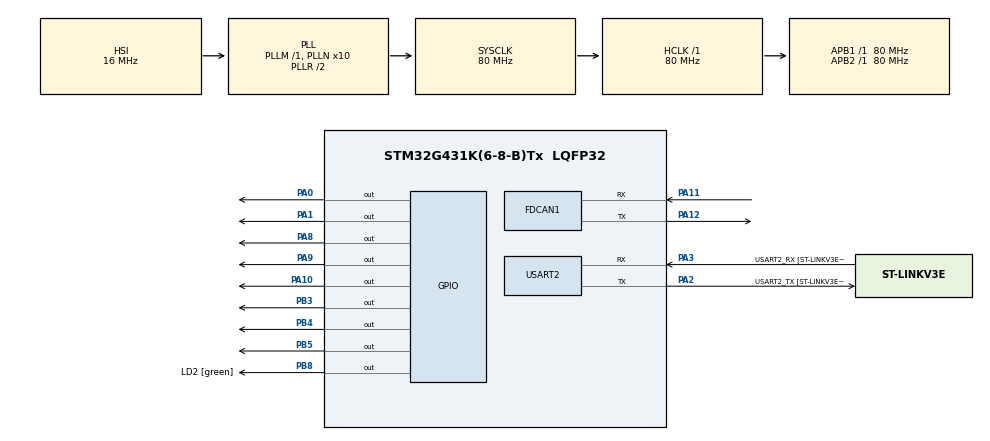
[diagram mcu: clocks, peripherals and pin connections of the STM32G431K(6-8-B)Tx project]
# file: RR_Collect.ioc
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FDCAN1.CalculateBaudRateNominal=1000000
FDCAN1.CalculateTimeBitNominal=1000
FDCAN1.CalculateTimeQuantumNominal=62.5
FDCAN1.DataPrescaler=2
FDCAN1.DataSyncJumpWidth=2
FDCAN1.DataTimeSeg1=10
FDCAN1.DataTimeSeg2=9
FDCAN1.FrameFormat=FDCAN_FRAME_FD_BRS
FDCAN1.NominalPrescaler=5
FDCAN1.NominalSyncJumpWidth=2
FDCAN1.NominalTimeSeg1=13
FDCAN1.StdFiltersNbr=1
Mcu.Family=STM32G4
Mcu.Name=STM32G431K(6-8-B)Tx
Mcu.Package=LQFP32
NVIC.FDCAN1_IT0_IRQn=true\:0\:0\:false\:false\:true\:true\:true\:true
NVIC.PriorityGroup=NVIC_PRIORITYGROUP_4
PA0.Signal=GPIO_Output
PA1.Signal=GPIO_Output
PA10.Signal=GPIO_Output
PA11.Mode=FDCAN_Activate
PA11.Signal=FDCAN1_RX
PA12.Mode=FDCAN_Activate
PA12.Signal=FDCAN1_TX
PA13.GPIO_Label=T_SWDIO
PA13.Mode=Serial_Wire
PA13.Signal=SYS_JTMS-SWDIO
PA14.GPIO_Label=T_SWCLK
PA14.Mode=Serial_Wire
PA14.Signal=SYS_JTCK-SWCLK
PA2.GPIO_Label=USART2_TX [ST-LINKV3E_VCP_RX]
PA2.Mode=Asynchronous
PA2.Signal=USART2_TX
PA3.GPIO_Label=USART2_RX [ST-LINKV3E_VCP_TX]
PA3.Mode=Asynchronous
PA3.Signal=USART2_RX
PA8.Signal=GPIO_Output
PA9.Signal=GPIO_Output
PB3.Signal=GPIO_Output
PB4.Signal=GPIO_Output
PB5.Signal=GPIO_Output
PB8-BOOT0.GPIO_Label=LD2 [green]
PB8-BOOT0.Signal=GPIO_Output
ProjectManager.HeapSize=0x200
ProjectManager.StackSize=0x400
ProjectManager.TargetToolchain=STM32CubeIDE
RCC.ADC12Freq_Value=80000000
RCC.AHBFreq_Value=80000000
RCC.APB1Freq_Value=80000000
RCC.APB1TimFreq_Value=80000000
RCC.APB2Freq_Value=80000000
RCC.APB2TimFreq_Value=80000000
RCC.CortexFreq_Value=80000000
RCC.EXTERNAL_CLOCK_VALUE=12288000
RCC.HCLKFreq_Value=80000000
RCC.HSE_VALUE=8000000
RCC.HSI48_VALUE=48000000
RCC.HSI_VALUE=16000000
RCC.LSE_VALUE=32768
RCC.PLLN=10
RCC.SYSCLKFreq_VALUE=80000000
RCC.SYSCLKSource=RCC_SYSCLKSOURCE_PLLCLK
RCC.USBFreq_Value=80000000
RCC.VCOOutputFreq_Value=160000000
USART2.VirtualMode-Asynchronous=VM_ASYNC
USART2.WordLength=WORDLENGTH_8B
board=NUCLEO-G431KB

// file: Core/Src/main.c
/* USER CODE BEGIN Header */
/**
  ******************************************************************************
  * @file           : main.c
  * @brief          : Main program body
  ******************************************************************************
  * @attention
  *
  * Copyright (c) 2023 STMicroelectronics.
  * All rights reserved.
  *
  * This software is licensed under terms that can be found in the LICENSE file
  * in the root directory of this software component.
  * If no LICENSE file comes with this software, it is provided AS-IS.
  *
  ******************************************************************************
  */

/**
 ************************
 *　エアシリンダの制御プログラム　*
 ************************

**/

/* USER CODE END Header */
#include "main.h"

FDCAN_HandleTypeDef hfdcan1;

UART_HandleTypeDef huart2;

/* USER CODE BEGIN PV */
FDCAN_TxHeaderTypeDef TxHeader;
FDCAN_RxHeaderTypeDef RxHeader;
FDCAN_FilterTypeDef sFilterConfig;

uint8_t TxData[1];
uint8_t RxData[1];
uint32_t TxMailbox;
/* USER CODE END PV */

void SystemClock_Config(void);
static void MX_GPIO_Init(void);
static void MX_USART2_UART_Init(void);
static void MX_FDCAN1_Init(void);
/* USER CODE BEGIN PFP */
void cylinder1(int i);
void cylinder2(int i);
void cylinder3(int i);
void cylinder4(int i);

/* USER CODE END PFP */

/* USER CODE BEGIN 0 */

int flag = 0; //どの操作を行うのかについてのフラグ

/* USER CODE END 0 */

int main(void)
{

  /* MCU Configuration--------------------------------------------------------*/

  /* Reset of all peripherals, Initializes the Flash interface and the Systick. */
  HAL_Init();

  /* Configure the system clock */
  SystemClock_Config();

  /* Initialize all configured peripherals */
  MX_GPIO_Init();
  MX_USART2_UART_Init();
  MX_FDCAN1_Init();
  /* USER CODE BEGIN 2 */
    TxHeader.Identifier = 0x513;
    TxHeader.IdType = FDCAN_STANDARD_ID;
    TxHeader.TxFrameType = FDCAN_DATA_FRAME;
    TxHeader.DataLength = FDCAN_DLC_BYTES_1;
    TxHeader.ErrorStateIndicator = FDCAN_ESI_ACTIVE;
    TxHeader.BitRateSwitch = FDCAN_BRS_ON;
    TxHeader.FDFormat = FDCAN_FD_CAN;
    TxHeader.TxEventFifoControl = FDCAN_NO_TX_EVENTS;
    TxHeader.MessageMarker = 0;

    FDCAN_FilterTypeDef sFilterConfig;
    sFilterConfig.IdType = FDCAN_STANDARD_ID;
    sFilterConfig.FilterIndex = 0;
    sFilterConfig.FilterType = FDCAN_FILTER_DUAL;
    sFilterConfig.FilterConfig = FDCAN_FILTER_TO_RXFIFO0;
    sFilterConfig.FilterID1 = 0x051;
    sFilterConfig.FilterID2 = 0x322;
  /* USER CODE END 2 */

  /* Infinite loop */
  while (1)
  {

    /* USER CODE BEGIN 3 */

	  if(flag == 1){//シリンダーを一番上まで上げる
		  cylinder1(1);
		  cylinder2(1);
		  cylinder3(1);
		  cylinder4(0);
	  }

	  if(flag == 2){//シリンダーを下げて開いて2段上げる
		  cylinder1(0);
		  cylinder2(0);
		  cylinder3(0);
		  HAL_Delay(100);
		  cylinder4(1);
		  HAL_Delay(1000);
		  cylinder2(1);
		  cylinder3(1);
		  flag = 0;

          // 次の行程へCAN通信
          TxHeader.Identifier = 0x323;
          TxData[0] = 0x03;
          if (HAL_FDCAN_AddMessageToTxFifoQ(&hfdcan1, &TxHeader, TxData) != HAL_OK)
          {
              Error_Handler();
          }
	  }

	  if(flag == 3){//シリンダーを下ろして上げる
		  HAL_GPIO_WritePin(GPIOA, GPIO_PIN_8, GPIO_PIN_RESET);
		  HAL_GPIO_WritePin(GPIOA, GPIO_PIN_0, GPIO_PIN_RESET);
		  HAL_Delay(100);
		  cylinder4(0);
		  HAL_Delay(100);
		  cylinder1(1);
		  cylinder2(1);
		  cylinder3(1);
		  flag = 0;

          // 次の行程へCAN通信
          TxHeader.Identifier = 0x323;
          TxData[0] = 0x04;
          if (HAL_FDCAN_AddMessageToTxFifoQ(&hfdcan1, &TxHeader, TxData) != HAL_OK)
          {
              Error_Handler();
          }
	  }
  }
  /* USER CODE END 3 */
}

void SystemClock_Config(void)
{
  RCC_OscInitTypeDef RCC_OscInitStruct = {0};
  RCC_ClkInitTypeDef RCC_ClkInitStruct = {0};

  /** Configure the main internal regulator output voltage
  */
  HAL_PWREx_ControlVoltageScaling(PWR_REGULATOR_VOLTAGE_SCALE1);

  /** Initializes the RCC Oscillators according to the specified parameters
  * in the RCC_OscInitTypeDef structure.
  */
  RCC_OscInitStruct.OscillatorType = RCC_OSCILLATORTYPE_HSI;
  RCC_OscInitStruct.HSIState = RCC_HSI_ON;
  RCC_OscInitStruct.HSICalibrationValue = RCC_HSICALIBRATION_DEFAULT;
  RCC_OscInitStruct.PLL.PLLState = RCC_PLL_ON;
  RCC_OscInitStruct.PLL.PLLSource = RCC_PLLSOURCE_HSI;
  RCC_OscInitStruct.PLL.PLLM = RCC_PLLM_DIV1;
  RCC_OscInitStruct.PLL.PLLN = 10;
  RCC_OscInitStruct.PLL.PLLP = RCC_PLLP_DIV2;
  RCC_OscInitStruct.PLL.PLLQ = RCC_PLLQ_DIV2;
  RCC_OscInitStruct.PLL.PLLR = RCC_PLLR_DIV2;
  if (HAL_RCC_OscConfig(&RCC_OscInitStruct) != HAL_OK)
  {
    Error_Handler();
  }

  /** Initializes the CPU, AHB and APB buses clocks
  */
  RCC_ClkInitStruct.ClockType = RCC_CLOCKTYPE_HCLK|RCC_CLOCKTYPE_SYSCLK
                              |RCC_CLOCKTYPE_PCLK1|RCC_CLOCKTYPE_PCLK2;
  RCC_ClkInitStruct.SYSCLKSource = RCC_SYSCLKSOURCE_PLLCLK;
  RCC_ClkInitStruct.AHBCLKDivider = RCC_SYSCLK_DIV1;
  RCC_ClkInitStruct.APB1CLKDivider = RCC_HCLK_DIV1;
  RCC_ClkInitStruct.APB2CLKDivider = RCC_HCLK_DIV1;

  if (HAL_RCC_ClockConfig(&RCC_ClkInitStruct, FLASH_LATENCY_2) != HAL_OK)
  {
    Error_Handler();
  }
}

static void MX_FDCAN1_Init(void)
{

  hfdcan1.Instance = FDCAN1;
  hfdcan1.Init.ClockDivider = FDCAN_CLOCK_DIV1;
  hfdcan1.Init.FrameFormat = FDCAN_FRAME_FD_BRS;
  hfdcan1.Init.Mode = FDCAN_MODE_NORMAL;
  hfdcan1.Init.AutoRetransmission = DISABLE;
  hfdcan1.Init.TransmitPause = DISABLE;
  hfdcan1.Init.ProtocolException = DISABLE;
  hfdcan1.Init.NominalPrescaler = 5;
  hfdcan1.Init.NominalSyncJumpWidth = 2;
  hfdcan1.Init.NominalTimeSeg1 = 13;
  hfdcan1.Init.NominalTimeSeg2 = 2;
  hfdcan1.Init.DataPrescaler = 2;
  hfdcan1.Init.DataSyncJumpWidth = 2;
  hfdcan1.Init.DataTimeSeg1 = 10;
  hfdcan1.Init.DataTimeSeg2 = 9;
  hfdcan1.Init.StdFiltersNbr = 1;
  hfdcan1.Init.ExtFiltersNbr = 0;
  hfdcan1.Init.TxFifoQueueMode = FDCAN_TX_FIFO_OPERATION;
  if (HAL_FDCAN_Init(&hfdcan1) != HAL_OK)
  {
    Error_Handler();
  }

}

static void MX_USART2_UART_Init(void)
{

  huart2.Instance = USART2;
  huart2.Init.BaudRate = 115200;
  huart2.Init.WordLength = UART_WORDLENGTH_8B;
  huart2.Init.StopBits = UART_STOPBITS_1;
  huart2.Init.Parity = UART_PARITY_NONE;
  huart2.Init.Mode = UART_MODE_TX_RX;
  huart2.Init.HwFlowCtl = UART_HWCONTROL_NONE;
  huart2.Init.OverSampling = UART_OVERSAMPLING_16;
  huart2.Init.OneBitSampling = UART_ONE_BIT_SAMPLE_DISABLE;
  huart2.Init.ClockPrescaler = UART_PRESCALER_DIV1;
  huart2.AdvancedInit.AdvFeatureInit = UART_ADVFEATURE_NO_INIT;
  if (HAL_UART_Init(&huart2) != HAL_OK)
  {
    Error_Handler();
  }
  if (HAL_UARTEx_SetTxFifoThreshold(&huart2, UART_TXFIFO_THRESHOLD_1_8) != HAL_OK)
  {
    Error_Handler();
  }
  if (HAL_UARTEx_SetRxFifoThreshold(&huart2, UART_RXFIFO_THRESHOLD_1_8) != HAL_OK)
  {
    Error_Handler();
  }
  if (HAL_UARTEx_DisableFifoMode(&huart2) != HAL_OK)
  {
    Error_Handler();
  }

}

static void MX_GPIO_Init(void)
{
  GPIO_InitTypeDef GPIO_InitStruct = {0};

  /* GPIO Ports Clock Enable */
  __HAL_RCC_GPIOA_CLK_ENABLE();
  __HAL_RCC_GPIOB_CLK_ENABLE();

  /*Configure GPIO pin Output Level */
  HAL_GPIO_WritePin(GPIOA, GPIO_PIN_0|GPIO_PIN_1|GPIO_PIN_8|GPIO_PIN_9
                          |GPIO_PIN_10, GPIO_PIN_RESET);

  /*Configure GPIO pin Output Level */
  HAL_GPIO_WritePin(GPIOB, GPIO_PIN_3|GPIO_PIN_4|GPIO_PIN_5|LD2_Pin, GPIO_PIN_RESET);

  /*Configure GPIO pins : PA0 PA1 PA8 PA9
                           PA10 */
  GPIO_InitStruct.Pin = GPIO_PIN_0|GPIO_PIN_1|GPIO_PIN_8|GPIO_PIN_9
                          |GPIO_PIN_10;
  GPIO_InitStruct.Mode = GPIO_MODE_OUTPUT_PP;
  GPIO_InitStruct.Pull = GPIO_NOPULL;
  GPIO_InitStruct.Speed = GPIO_SPEED_FREQ_LOW;
  HAL_GPIO_Init(GPIOA, &GPIO_InitStruct);

  /*Configure GPIO pins : PB3 PB4 PB5 LD2_Pin */
  GPIO_InitStruct.Pin = GPIO_PIN_3|GPIO_PIN_4|GPIO_PIN_5|LD2_Pin;
  GPIO_InitStruct.Mode = GPIO_MODE_OUTPUT_PP;
  GPIO_InitStruct.Pull = GPIO_NOPULL;
  GPIO_InitStruct.Speed = GPIO_SPEED_FREQ_LOW;
  HAL_GPIO_Init(GPIOB, &GPIO_InitStruct);

}

/* USER CODE BEGIN 4 */
void HAL_FDCAN_RxFifo0Callback(FDCAN_HandleTypeDef *hfdcan1, uint32_t RxFifo0ITs) {
    if ((RxFifo0ITs & FDCAN_IT_RX_FIFO0_NEW_MESSAGE) != RESET) {
        /* Retrieve Rx messages from RX FIFO0 */
        if (HAL_FDCAN_GetRxMessage(hfdcan1, FDCAN_RX_FIFO0, &RxHeader, RxData) != HAL_OK) {
            Error_Handler();
        }

        if ((RxHeader.Identifier == 0x322)) {
            if (RxData[0] == 0x001){
                flag = 1;
            } else if (RxData[0] == 0x002){
                flag = 2;
            } else if (RxData[0] == 0x003){
                flag = 3;
            }
        }
        if ((RxHeader.Identifier == 0x051)) {
            flag = 1;
        }
    }
}
/* USER CODE END 4 */

void Error_Handler(void)
{
  __disable_irq();
  while (1)
  {
  }
}
